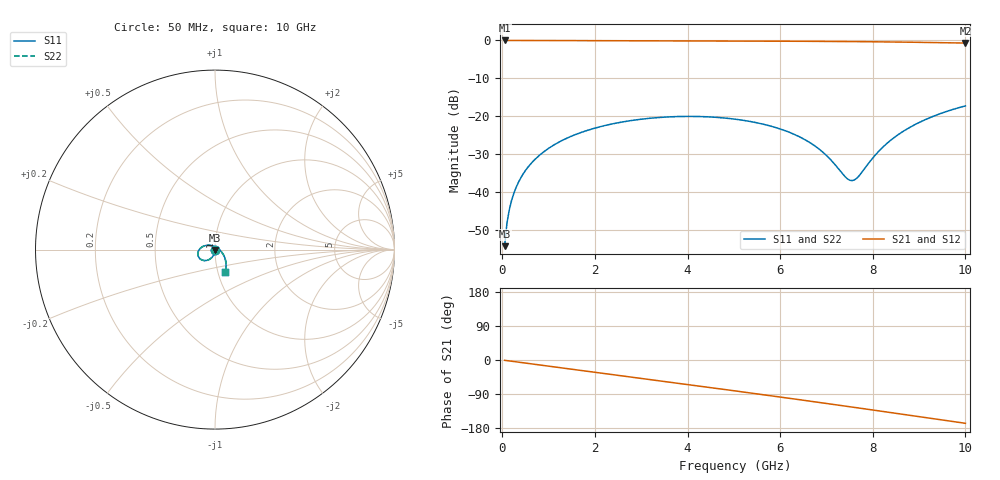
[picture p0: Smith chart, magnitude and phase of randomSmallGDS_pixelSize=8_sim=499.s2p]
! freq	dB(S11)	phase(S11)	dB(S12)	phase(S12)
!  dB(S21)	phase(S21)	dB(S22)	phase(S22)
!S-par simulation data
#  GHz  S  DB  R 50
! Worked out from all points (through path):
!   200 points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, 50 MHz to 10 GHz, reference 50 ohm
!   highest |S21| = 0.00 dB at 50 MHz (marker M1); lowest = -0.7 dB at 10 GHz (marker M2)
!   group delay of S21, straight-line fit = 46.2 ps
!   lowest |S11| = -54.2 dB at 50 MHz (marker M3), VSWR 1.00, Z = 50 - j0.196 ohm
!   |S11| at or under -10 dB: start of sweep to end of sweep
!   |S22| runs from -54.2 to -17.2 dB; largest |S21 - S12| = 0
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0.05  -54.17 -90.4  -0.00 -0.8  -0.00 -0.8  -54.17 -90.4
0.1  -48.16 -91.6  -0.00 -1.7  -0.00 -1.7  -48.16 -91.6
0.15  -44.64 -92.6  -0.01 -2.5  -0.01 -2.5  -44.64 -92.6
0.2  -42.15 -93.6  -0.01 -3.3  -0.01 -3.3  -42.15 -93.6
0.35  -37.32 -96.3  -0.01 -5.7  -0.01 -5.7  -37.32 -96.3
0.5  -34.26 -98.9  -0.01 -8.1  -0.01 -8.1  -34.26 -98.9
0.7  -31.39 -102.2  -0.02 -11.4  -0.02 -11.4  -31.39 -102.2
1  -28.41 -107.3  -0.02 -16.2  -0.02 -16.2  -28.41 -107.3
1.75  -24.02 -119.7  -0.05 -28.4  -0.05 -28.4  -24.02 -119.7
2.5  -21.67 -132.1  -0.07 -40.5  -0.07 -40.5  -21.67 -132.1
3.4  -20.27 -147.1  -0.10 -55.0  -0.10 -55.0  -20.27 -147.0
5.05  -20.77 -176.0  -0.16 -81.9  -0.16 -81.9  -20.77 -176.0
6  -23.30 164.7  -0.19 -97.7  -0.19 -97.7  -23.31 164.8
6.7  -27.35 145.4  -0.23 -109.5  -0.23 -109.5  -27.36 145.4
7.05  -30.89 128.8  -0.25 -115.5  -0.25 -115.5  -30.89 128.9
7.45  -36.41 81.3  -0.29 -122.4  -0.29 -122.4  -36.43 81.4
7.55  -36.92 59.6  -0.30 -124.1  -0.30 -124.1  -36.94 59.6
7.7  -35.70 28.0  -0.31 -126.7  -0.31 -126.7  -35.72 28.0
8.05  -30.23 -10.9  -0.35 -132.8  -0.35 -132.8  -30.24 -10.9
8.35  -26.64 -25.9  -0.39 -138.0  -0.39 -138.0  -26.65 -25.9
9.05  -21.32 -46.4  -0.50 -150.3  -0.50 -150.3  -21.32 -46.4
10  -17.23 -66.4  -0.69 -167.1  -0.69 -167.1  -17.24 -66.4
